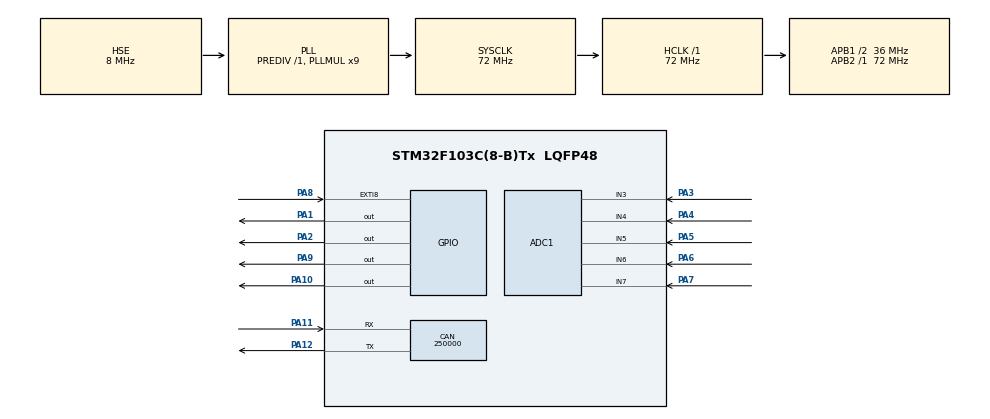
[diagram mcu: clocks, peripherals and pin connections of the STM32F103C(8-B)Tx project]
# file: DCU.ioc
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ADC1.Channel-0\#ChannelRegularConversion=ADC_CHANNEL_4
ADC1.Channel-1\#ChannelRegularConversion=ADC_CHANNEL_5
ADC1.Channel-2\#ChannelRegularConversion=ADC_CHANNEL_6
ADC1.Channel-3\#ChannelRegularConversion=ADC_CHANNEL_3
ADC1.Channel-4\#ChannelRegularConversion=ADC_CHANNEL_7
ADC1.ContinuousConvMode=ENABLE
ADC1.NbrOfConversion=5
ADC1.NbrOfConversionFlag=1
ADC1.Rank-0\#ChannelRegularConversion=1
ADC1.Rank-1\#ChannelRegularConversion=2
ADC1.Rank-2\#ChannelRegularConversion=3
ADC1.Rank-3\#ChannelRegularConversion=4
ADC1.Rank-4\#ChannelRegularConversion=5
ADC1.SamplingTime-0\#ChannelRegularConversion=ADC_SAMPLETIME_239CYCLES_5
ADC1.SamplingTime-1\#ChannelRegularConversion=ADC_SAMPLETIME_239CYCLES_5
ADC1.SamplingTime-2\#ChannelRegularConversion=ADC_SAMPLETIME_239CYCLES_5
ADC1.SamplingTime-3\#ChannelRegularConversion=ADC_SAMPLETIME_239CYCLES_5
ADC1.SamplingTime-4\#ChannelRegularConversion=ADC_SAMPLETIME_239CYCLES_5
ADC1.master=1
CAN.BS1=CAN_BS1_4TQ
CAN.BS2=CAN_BS2_4TQ
CAN.CalculateBaudRate=250000
CAN.CalculateTimeBit=4000
CAN.CalculateTimeQuantum=444.44444444444446
Dma.ADC1.0.Direction=DMA_PERIPH_TO_MEMORY
Dma.ADC1.0.Instance=DMA1_Channel1
Dma.ADC1.0.MemDataAlignment=DMA_MDATAALIGN_HALFWORD
Dma.ADC1.0.MemInc=DMA_MINC_ENABLE
Dma.ADC1.0.Mode=DMA_CIRCULAR
Dma.ADC1.0.PeriphDataAlignment=DMA_PDATAALIGN_HALFWORD
Dma.ADC1.0.PeriphInc=DMA_PINC_DISABLE
Dma.ADC1.0.Priority=DMA_PRIORITY_LOW
Dma.Request0=ADC1
Mcu.Family=STM32F1
Mcu.Name=STM32F103C(8-B)Tx
Mcu.Package=LQFP48
NVIC.CAN1_RX1_IRQn=true\:0\:0\:false\:false\:true\:true\:true\:true
NVIC.DMA1_Channel1_IRQn=true\:0\:0\:false\:false\:true\:false\:true\:true
NVIC.EXTI9_5_IRQn=true\:0\:0\:true\:false\:true\:true\:true\:true
NVIC.PriorityGroup=NVIC_PRIORITYGROUP_4
NVIC.TIM1_BRK_IRQn=true\:0\:0\:false\:false\:true\:true\:true\:true
NVIC.TIM1_UP_IRQn=true\:0\:0\:false\:false\:true\:true\:true\:true
NVIC.TIM3_IRQn=true\:0\:0\:false\:false\:true\:true\:true\:true
NVIC.USB_LP_CAN1_RX0_IRQn=true\:0\:0\:false\:false\:true\:true\:true\:true
PA1.Signal=GPIO_Output
PA10.Signal=GPIO_Output
PA11.Mode=CAN_Activate
PA11.Signal=CAN_RX
PA12.Mode=CAN_Activate
PA12.Signal=CAN_TX
PA13.Mode=Serial_Wire
PA13.Signal=SYS_JTMS-SWDIO
PA14.Mode=Serial_Wire
PA14.Signal=SYS_JTCK-SWCLK
PA2.Signal=GPIO_Output
PA3.Signal=ADCx_IN3
PA4.Signal=ADCx_IN4
PA5.Signal=ADCx_IN5
PA6.Signal=ADCx_IN6
PA7.Signal=ADCx_IN7
PA8.GPIO_ModeDefaultEXTI=GPIO_MODE_IT_RISING
PA8.GPIO_PuPd=GPIO_NOPULL
PA8.Signal=GPXTI8
PA9.Signal=GPIO_Output
PD0-OSC_IN.Mode=HSE-External-Oscillator
PD0-OSC_IN.Signal=RCC_OSC_IN
PD1-OSC_OUT.Mode=HSE-External-Oscillator
PD1-OSC_OUT.Signal=RCC_OSC_OUT
ProjectManager.HeapSize=0x200
ProjectManager.StackSize=0x400
ProjectManager.TargetToolchain=STM32CubeIDE
RCC.ADCPresc=RCC_ADCPCLK2_DIV6
RCC.AHBFreq_Value=72000000
RCC.APB1CLKDivider=RCC_HCLK_DIV2
RCC.APB1Freq_Value=36000000
RCC.APB1TimFreq_Value=72000000
RCC.APB2Freq_Value=72000000
RCC.APB2TimFreq_Value=72000000
RCC.HCLKFreq_Value=72000000
RCC.PLLMUL=RCC_PLL_MUL9
RCC.PLLSourceVirtual=RCC_PLLSOURCE_HSE
RCC.SYSCLKFreq_VALUE=72000000
RCC.SYSCLKSource=RCC_SYSCLKSOURCE_PLLCLK
RCC.USBFreq_Value=72000000
SH.ADCx_IN3.0=ADC1_IN3,IN3
SH.ADCx_IN4.0=ADC1_IN4,IN4
SH.ADCx_IN5.0=ADC1_IN5,IN5
SH.ADCx_IN6.0=ADC1_IN6,IN6
SH.ADCx_IN7.0=ADC1_IN7,IN7
TIM1.Period=999
TIM1.Prescaler=719
TIM3.Period=9999
TIM3.Prescaler=3599
VP_TIM1_VS_ClockSourceINT.Mode=Internal
VP_TIM3_VS_ClockSourceINT.Mode=Internal
board=custom

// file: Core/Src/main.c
/* USER CODE BEGIN Header */
/**
  ******************************************************************************
  * @file           : main.c
  * @brief          : Main program body
  ******************************************************************************
  * @attention
  *
  * Copyright (c) 2025 STMicroelectronics.
  * All rights reserved.
  *
  * This software is licensed under terms that can be found in the LICENSE file
  * in the root directory of this software component.
  * If no LICENSE file comes with this software, it is provided AS-IS.
  *
  ******************************************************************************
  */
/* USER CODE END Header */
#include "main.h"
#include "adc.h"
#include "can.h"
#include "dma.h"
#include "tim.h"
#include "gpio.h"

/* USER CODE BEGIN Includes */

#include "APPS.h"
#include "BSE.h"
#include "BPPC.h"
#include "Volante.h"
#include "cant.h"
/* USER CODE END Includes */

void SystemClock_Config(void);

/* USER CODE BEGIN 0 */

uint16_t adcRaw[5];

void HAL_TIM_PeriodElapsedCallback(TIM_HandleTypeDef *htim){
	if(htim == &htim1){ //0.01s
		can_enviar();
		HAL_GPIO_TogglePin(GPIOA, GPIO_PIN_2);
	}
	if(htim == &htim3){ //deboucing do botao
		//ativa 0.5s apos a ativação do timer 3 em botao.c
		EXTI->IMR |= EXTI_IMR_IM8; //habilita novamente a EXTI8
		HAL_TIM_Base_Stop_IT(&htim3); //desliga o tim3

	}
}

/* USER CODE END 0 */

int main(void)
{

  /* MCU Configuration--------------------------------------------------------*/

  /* Reset of all peripherals, Initializes the Flash interface and the Systick. */
  HAL_Init();

  /* Configure the system clock */
  SystemClock_Config();

  /* Initialize all configured peripherals */
  MX_GPIO_Init();
  MX_DMA_Init();
  MX_ADC1_Init();
  MX_CAN_Init();
  MX_TIM1_Init();
  MX_TIM3_Init();
  /* USER CODE BEGIN 2 */

  HAL_ADC_Start_DMA(&hadc1, (uint32_t *) adcRaw, 5);
  HAL_CAN_Start(&hcan);
  HAL_TIM_Base_Start_IT(&htim1);

  /* USER CODE END 2 */

  /* Infinite loop */
  /* USER CODE BEGIN WHILE */
  while (1)
  {

	  APPS();
	  BSE();
	  mediavolante();
	  bppcError = BPPC();

    /* USER CODE END WHILE */

  }
}

void SystemClock_Config(void)
{
  RCC_OscInitTypeDef RCC_OscInitStruct = {0};
  RCC_ClkInitTypeDef RCC_ClkInitStruct = {0};
  RCC_PeriphCLKInitTypeDef PeriphClkInit = {0};

  /** Initializes the RCC Oscillators according to the specified parameters
  * in the RCC_OscInitTypeDef structure.
  */
  RCC_OscInitStruct.OscillatorType = RCC_OSCILLATORTYPE_HSE;
  RCC_OscInitStruct.HSEState = RCC_HSE_ON;
  RCC_OscInitStruct.HSEPredivValue = RCC_HSE_PREDIV_DIV1;
  RCC_OscInitStruct.HSIState = RCC_HSI_ON;
  RCC_OscInitStruct.PLL.PLLState = RCC_PLL_ON;
  RCC_OscInitStruct.PLL.PLLSource = RCC_PLLSOURCE_HSE;
  RCC_OscInitStruct.PLL.PLLMUL = RCC_PLL_MUL9;
  if (HAL_RCC_OscConfig(&RCC_OscInitStruct) != HAL_OK)
  {
    Error_Handler();
  }

  /** Initializes the CPU, AHB and APB buses clocks
  */
  RCC_ClkInitStruct.ClockType = RCC_CLOCKTYPE_HCLK|RCC_CLOCKTYPE_SYSCLK
                              |RCC_CLOCKTYPE_PCLK1|RCC_CLOCKTYPE_PCLK2;
  RCC_ClkInitStruct.SYSCLKSource = RCC_SYSCLKSOURCE_PLLCLK;
  RCC_ClkInitStruct.AHBCLKDivider = RCC_SYSCLK_DIV1;
  RCC_ClkInitStruct.APB1CLKDivider = RCC_HCLK_DIV2;
  RCC_ClkInitStruct.APB2CLKDivider = RCC_HCLK_DIV1;

  if (HAL_RCC_ClockConfig(&RCC_ClkInitStruct, FLASH_LATENCY_2) != HAL_OK)
  {
    Error_Handler();
  }
  PeriphClkInit.PeriphClockSelection = RCC_PERIPHCLK_ADC;
  PeriphClkInit.AdcClockSelection = RCC_ADCPCLK2_DIV6;
  if (HAL_RCCEx_PeriphCLKConfig(&PeriphClkInit) != HAL_OK)
  {
    Error_Handler();
  }
}

void Error_Handler(void)
{
  __disable_irq();
  while (1)
  {
  }
}
